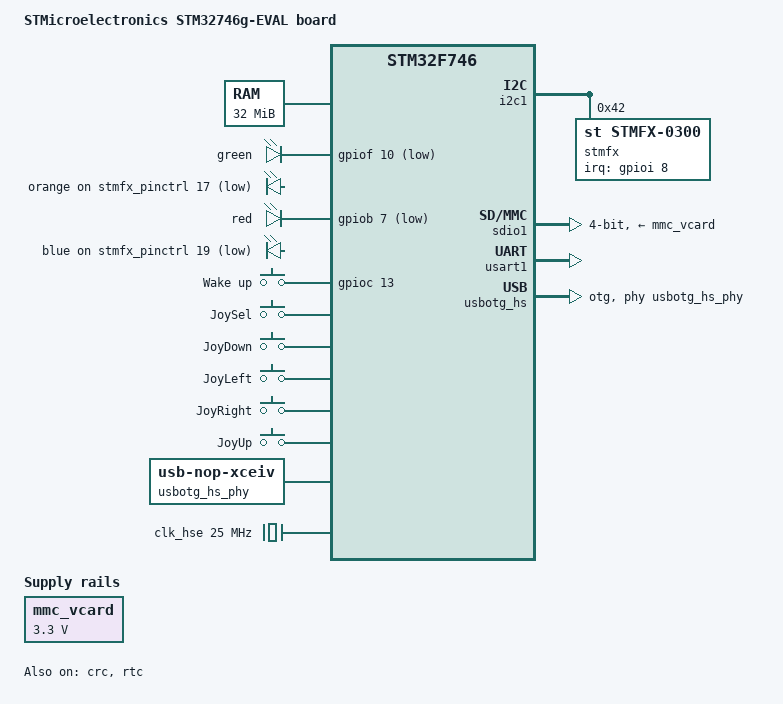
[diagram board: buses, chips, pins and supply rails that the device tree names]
/*
 * Copyright 2015 - Maxime Coquelin <mcoquelin.stm32@gmail.com>
 *
 * This file is dual-licensed: you can use it either under the terms
 * of the GPL or the X11 license, at your option. Note that this dual
 * licensing only applies to this file, and not this project as a
 * whole.
 *
 *  a) This file is free software; you can redistribute it and/or
 *     modify it under the terms of the GNU General Public License as
 *     published by the Free Software Foundation; either version 2 of the
 *     License, or (at your option) any later version.
 *
 *     This file is distributed in the hope that it will be useful,
 *     but WITHOUT ANY WARRANTY; without even the implied warranty of
 *     MERCHANTABILITY or FITNESS FOR A PARTICULAR PURPOSE.  See the
 *     GNU General Public License for more details.
 *
 * Or, alternatively,
 *
 *  b) Permission is hereby granted, free of charge, to any person
 *     obtaining a copy of this software and associated documentation
 *     files (the "Software"), to deal in the Software without
 *     restriction, including without limitation the rights to use,
 *     copy, modify, merge, publish, distribute, sublicense, and/or
 *     sell copies of the Software, and to permit persons to whom the
 *     Software is furnished to do so, subject to the following
 *     conditions:
 *
 *     The above copyright notice and this permission notice shall be
 *     included in all copies or substantial portions of the Software.
 *
 *     THE SOFTWARE IS PROVIDED "AS IS", WITHOUT WARRANTY OF ANY KIND,
 *     EXPRESS OR IMPLIED, INCLUDING BUT NOT LIMITED TO THE WARRANTIES
 *     OF MERCHANTABILITY, FITNESS FOR A PARTICULAR PURPOSE AND
 *     NONINFRINGEMENT. IN NO EVENT SHALL THE AUTHORS OR COPYRIGHT
 *     HOLDERS BE LIABLE FOR ANY CLAIM, DAMAGES OR OTHER LIABILITY,
 *     WHETHER IN AN ACTION OF CONTRACT, TORT OR OTHERWISE, ARISING
 *     FROM, OUT OF OR IN CONNECTION WITH THE SOFTWARE OR THE USE OR
 *     OTHER DEALINGS IN THE SOFTWARE.
 */

/dts-v1/;
#include "stm32f746.dtsi"
#include "stm32f746-pinctrl.dtsi"
#include <dt-bindings/input/input.h>
#include <dt-bindings/interrupt-controller/irq.h>

/ {
	model = "STMicroelectronics STM32746g-EVAL board";
	compatible = "st,stm32746g-eval", "st,stm32f746";

	chosen {
		bootargs = "root=/dev/ram";
		stdout-path = "serial0:115200n8";
	};

	memory@c0000000 {
		device_type = "memory";
		reg = <0xc0000000 0x2000000>;
	};

	aliases {
		serial0 = &usart1;
	};

	leds {
		compatible = "gpio-leds";
		green {
			gpios = <&gpiof 10 1>;
			linux,default-trigger = "heartbeat";
		};
		orange {
			gpios = <&stmfx_pinctrl 17 1>;
		};
		red {
			gpios = <&gpiob 7 1>;
		};
		blue {
			gpios = <&stmfx_pinctrl 19 1>;
		};
	};

	gpio_keys {
		compatible = "gpio-keys";
		#address-cells = <1>;
		#size-cells = <0>;
		autorepeat;
		button@0 {
			label = "Wake up";
			linux,code = <KEY_WAKEUP>;
			gpios = <&gpioc 13 0>;
		};
	};

	joystick {
		compatible = "gpio-keys";
		pinctrl-0 = <&joystick_pins>;
		pinctrl-names = "default";
		button-0 {
			label = "JoySel";
			linux,code = <KEY_ENTER>;
			interrupt-parent = <&stmfx_pinctrl>;
			interrupts = <0 IRQ_TYPE_EDGE_FALLING>;
		};
		button-1 {
			label = "JoyDown";
			linux,code = <KEY_DOWN>;
			interrupt-parent = <&stmfx_pinctrl>;
			interrupts = <1 IRQ_TYPE_EDGE_FALLING>;
		};
		button-2 {
			label = "JoyLeft";
			linux,code = <KEY_LEFT>;
			interrupt-parent = <&stmfx_pinctrl>;
			interrupts = <2 IRQ_TYPE_EDGE_FALLING>;
		};
		button-3 {
			label = "JoyRight";
			linux,code = <KEY_RIGHT>;
			interrupt-parent = <&stmfx_pinctrl>;
			interrupts = <3 IRQ_TYPE_EDGE_FALLING>;
		};
		button-4 {
			label = "JoyUp";
			linux,code = <KEY_UP>;
			interrupt-parent = <&stmfx_pinctrl>;
			interrupts = <4 IRQ_TYPE_EDGE_FALLING>;
		};
	};

	usbotg_hs_phy: usb-phy {
		#phy-cells = <0>;
		compatible = "usb-nop-xceiv";
		clocks = <&rcc 0 STM32F7_AHB1_CLOCK(OTGHSULPI)>;
		clock-names = "main_clk";
	};

	mmc_vcard: mmc_vcard {
		compatible = "regulator-fixed";
		regulator-name = "mmc_vcard";
		regulator-min-microvolt = <3300000>;
		regulator-max-microvolt = <3300000>;
	};
};

&clk_hse {
	clock-frequency = <25000000>;
};

&crc {
	status = "okay";
};

&i2c1 {
	pinctrl-0 = <&i2c1_pins_b>;
	pinctrl-names = "default";
	i2c-scl-rising-time-ns = <185>;
	i2c-scl-falling-time-ns = <20>;
	status = "okay";

	stmfx: stmfx@42 {
		compatible = "st,stmfx-0300";
		reg = <0x42>;
		interrupts = <8 IRQ_TYPE_EDGE_RISING>;
		interrupt-parent = <&gpioi>;

		stmfx_pinctrl: pinctrl {
			compatible = "st,stmfx-0300-pinctrl";
			gpio-controller;
			#gpio-cells = <2>;
			interrupt-controller;
			#interrupt-cells = <2>;
			gpio-ranges = <&stmfx_pinctrl 0 0 24>;

			joystick_pins: joystick {
				pins = "gpio0", "gpio1", "gpio2", "gpio3", "gpio4";
				drive-push-pull;
				bias-pull-up;
			};
		};
	};
};

&rtc {
	status = "okay";
};

&sdio1 {
	status = "okay";
	vmmc-supply = <&mmc_vcard>;
	broken-cd;
	pinctrl-names = "default", "opendrain";
	pinctrl-0 = <&sdio_pins_a>;
	pinctrl-1 = <&sdio_pins_od_a>;
	bus-width = <4>;
};

&usart1 {
	pinctrl-0 = <&usart1_pins_a>;
	pinctrl-names = "default";
	status = "okay";
};

&usbotg_hs {
	dr_mode = "otg";
	phys = <&usbotg_hs_phy>;
	phy-names = "usb2-phy";
	pinctrl-0 = <&usbotg_hs_pins_a>;
	pinctrl-names = "default";
	status = "okay";
};
